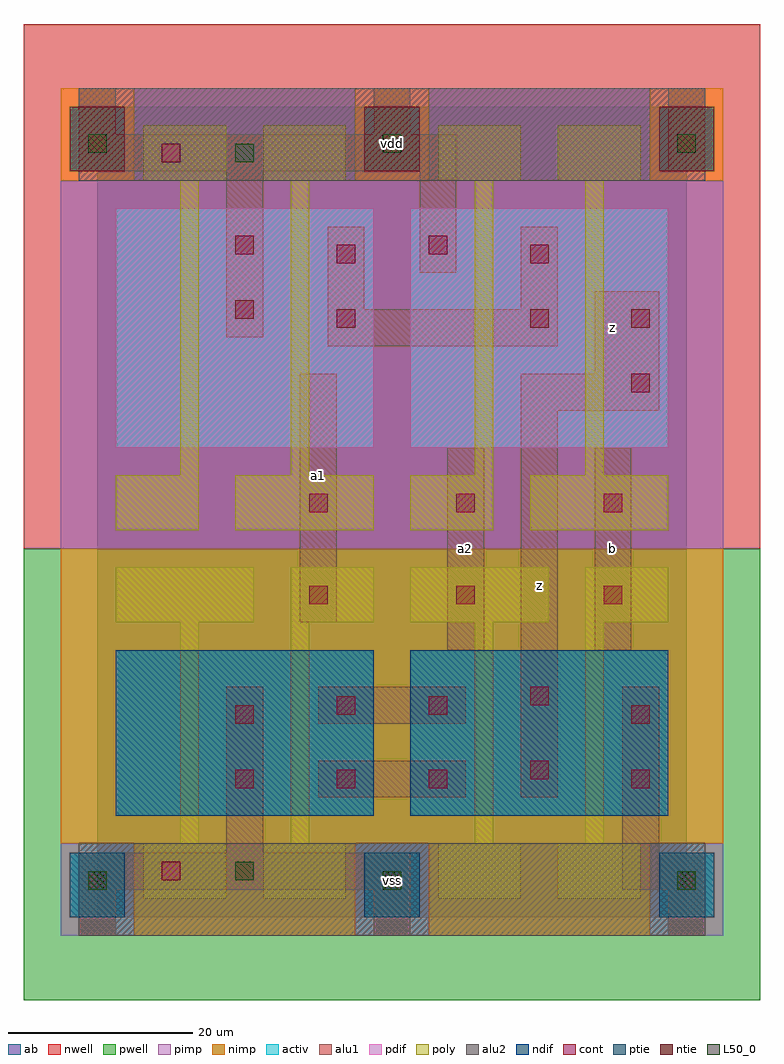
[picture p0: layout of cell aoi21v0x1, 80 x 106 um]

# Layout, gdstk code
import gdstk
lib = gdstk.Library(unit=1e-6, precision=1e-09)
def R(c, l, rs):  # rectangles x0, y0, x1, y1
    for r in rs: c.add(gdstk.rectangle(r[:2], r[2:], *l))
def A(c, l, x, y, w, h, nx, ny, dx, dy):  # array of equal rectangles
    R(c, l, [(x+i*dx, y+j*dy, x+i*dx+w, y+j*dy+h) for i in range(nx) for j in range(ny)])
ndif = (3, 0)
pdif = (4, 0)
ntie = (5, 0)
ptie = (6, 0)
cont = (25, 0)
pwell = (41, 0)
nwell = (42, 0)
activ = (43, 0)
pimp = (44, 0)
nimp = (45, 0)
poly = (46, 0)
alu1 = (49, 0)
L50_0 = (50, 0)
alu2 = (51, 0)
ab = (63, 0)

aoi21v0x1 = lib.new_cell('aoi21v0x1')
R(aoi21v0x1, ndif, [(2,11,30,29), (34,11,62,29)])
R(aoi21v0x1, pdif, [(2,51,30,77), (34,51,62,77)])
A(aoi21v0x1, ntie, -3, 81, 6, 7, 3, 1, 32, 0)
A(aoi21v0x1, ptie, -3, 0, 6, 7, 3, 1, 32, 0)
A(aoi21v0x1, cont, -1, 3, 2, 2, 3, 2, 32, 80)
A(aoi21v0x1, cont, 23, 34, 2, 2, 3, 2, 16, 10)
R(aoi21v0x1, cont, [(7,4,9,6), (15,14,17,16), (26,14,28,16), (36,14,38,16), (58,14,60,16), (47,15,49,17), (15,21,17,23), (58,21,60,23), (26,22,28,24), (36,22,38,24), (47,23,49,25), (58,57,60,59), (26,64,28,66), (47,64,49,66), (58,64,60,66), (15,65,17,67), (26,71,28,73), (47,71,49,73), (15,72,17,74), (36,72,38,74), (7,82,9,84)])
R(aoi21v0x1, pwell, [(-8,-9,72,40)])
R(aoi21v0x1, nwell, [(-8,40,72,97)])
A(aoi21v0x1, activ, -3, 0, 6, 7, 3, 2, 32, 81)
R(aoi21v0x1, activ, [(2,11,30,29), (34,11,62,29), (2,51,30,77), (34,51,62,77)])
A(aoi21v0x1, pimp, -4, -2, 8, 10, 3, 1, 32, 0)
R(aoi21v0x1, pimp, [(-4,40,68,80), (4,80,28,90), (36,80,60,90)])
A(aoi21v0x1, nimp, -4, 80, 8, 10, 3, 1, 32, 0)
R(aoi21v0x1, nimp, [(4,-2,28,8), (36,-2,60,8), (-4,8,68,40)])
R(aoi21v0x1, poly, [(5,2,14,8), (18,2,27,8), (37,2,46,8), (50,2,59,8), (9,8,11,32), (21,8,23,32), (41,8,43,32), (53,8,55,32), (2,32,17,38), (21,32,30,38), (34,32,49,38), (53,32,62,38), (2,42,11,48), (15,42,30,48), (34,42,43,48), (47,42,62,48), (9,48,11,80), (21,48,23,80), (41,48,43,80), (53,48,55,80), (5,80,14,86), (18,80,27,86), (37,80,46,86), (50,80,59,86)])
A(aoi21v0x1, alu1, -2, -2, 4, 5, 3, 1, 32, 0)
R(aoi21v0x1, alu1, [(-2,3,34,7), (57,3,66,7), (14,7,18,25), (57,7,61,25), (24,13,40,17), (46,13,50,55), (24,21,40,25), (38,29,42,51), (54,29,58,51), (22,32,26,59), (46,55,61,59), (54,59,61,68), (25,62,50,66), (14,63,18,81), (25,66,29,75), (46,66,50,75), (35,70,39,81), (-2,81,39,85), (62,81,66,90), (-2,85,2,90), (30,85,34,90)])
A(aoi21v0x1, L50_0, -1, 3, 2, 2, 3, 2, 32, 80)
R(aoi21v0x1, L50_0, [(15,4,17,6), (15,82,17,84)])
R(aoi21v0x1, alu2, [(-2,-2,66,8), (-2,80,66,90)])
R(aoi21v0x1, ab, [(0,0,64,88)])
aoi21v0x1.add(gdstk.Label('a1', (24,48), layer=49, texttype=0))
aoi21v0x1.add(gdstk.Label('a2', (40,40), layer=49, texttype=0))
aoi21v0x1.add(gdstk.Label('z', (48,36), layer=49, texttype=0))
aoi21v0x1.add(gdstk.Label('b', (56,40), layer=49, texttype=0))
aoi21v0x1.add(gdstk.Label('z', (56,64), layer=49, texttype=0))
aoi21v0x1.add(gdstk.Label('vss', (32,4), layer=51, texttype=0))
aoi21v0x1.add(gdstk.Label('vdd', (32,84), layer=51, texttype=0))

lib.write_gds('aoi21v0x1.gds')
